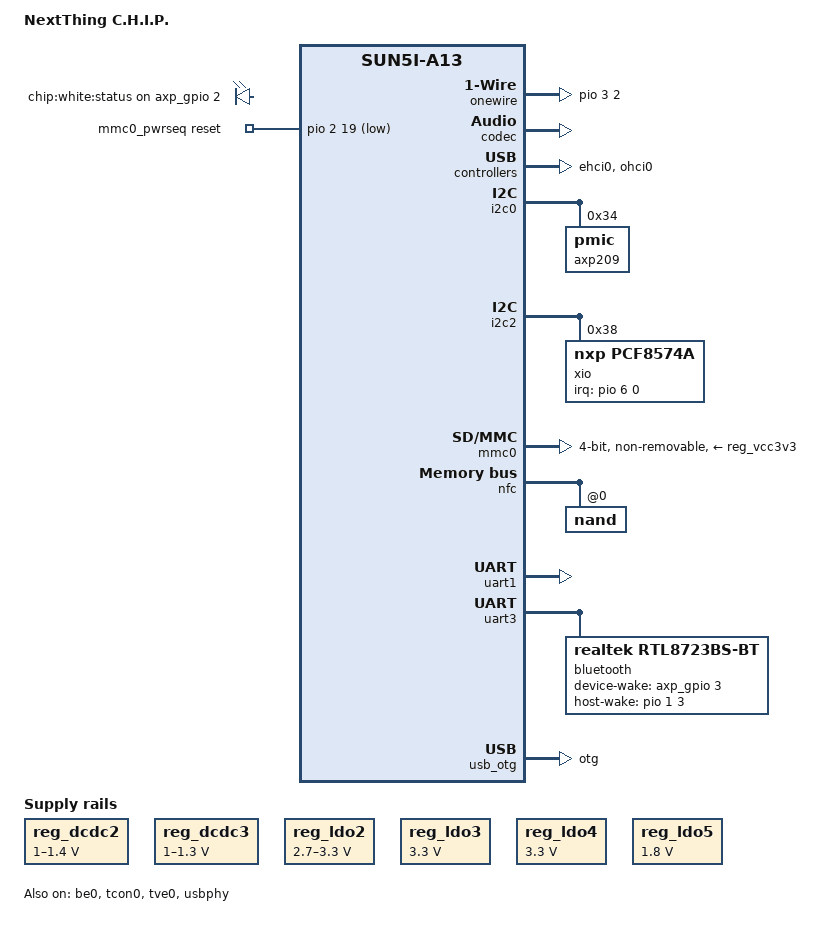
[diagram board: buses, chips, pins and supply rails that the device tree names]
/*
 * Copyright 2015 Free Electrons
 * Copyright 2015 NextThing Co
 *
 * Maxime Ripard <maxime.ripard@free-electrons.com>
 *
 * This file is dual-licensed: you can use it either under the terms
 * of the GPL or the X11 license, at your option. Note that this dual
 * licensing only applies to this file, and not this project as a
 * whole.
 *
 *  a) This file is free software; you can redistribute it and/or
 *     modify it under the terms of the GNU General Public License as
 *     published by the Free Software Foundation; either version 2 of the
 *     License, or (at your option) any later version.
 *
 *     This file is distributed in the hope that it will be useful,
 *     but WITHOUT ANY WARRANTY; without even the implied warranty of
 *     MERCHANTABILITY or FITNESS FOR A PARTICULAR PURPOSE.  See the
 *     GNU General Public License for more details.
 *
 * Or, alternatively,
 *
 *  b) Permission is hereby granted, free of charge, to any person
 *     obtaining a copy of this software and associated documentation
 *     files (the "Software"), to deal in the Software without
 *     restriction, including without limitation the rights to use,
 *     copy, modify, merge, publish, distribute, sublicense, and/or
 *     sell copies of the Software, and to permit persons to whom the
 *     Software is furnished to do so, subject to the following
 *     conditions:
 *
 *     The above copyright notice and this permission notice shall be
 *     included in all copies or substantial portions of the Software.
 *
 *     THE SOFTWARE IS PROVIDED "AS IS", WITHOUT WARRANTY OF ANY KIND,
 *     EXPRESS OR IMPLIED, INCLUDING BUT NOT LIMITED TO THE WARRANTIES
 *     OF MERCHANTABILITY, FITNESS FOR A PARTICULAR PURPOSE AND
 *     NONINFRINGEMENT. IN NO EVENT SHALL THE AUTHORS OR COPYRIGHT
 *     HOLDERS BE LIABLE FOR ANY CLAIM, DAMAGES OR OTHER LIABILITY,
 *     WHETHER IN AN ACTION OF CONTRACT, TORT OR OTHERWISE, ARISING
 *     FROM, OUT OF OR IN CONNECTION WITH THE SOFTWARE OR THE USE OR
 *     OTHER DEALINGS IN THE SOFTWARE.
 */

/dts-v1/;
#include "sun5i-r8.dtsi"
#include "sunxi-common-regulators.dtsi"

#include <dt-bindings/gpio/gpio.h>
#include <dt-bindings/interrupt-controller/irq.h>

/ {
	model = "NextThing C.H.I.P.";
	compatible = "nextthing,chip", "allwinner,sun5i-r8", "allwinner,sun5i-a13";

	aliases {
		i2c0 = &i2c0;
		i2c1 = &i2c1;
		i2c2 = &i2c2;
		serial0 = &uart1;
		serial1 = &uart3;
		spi0 = &spi2;
	};

	chosen {
		stdout-path = "serial0:115200n8";
	};

	leds {
		compatible = "gpio-leds";

		led-0 {
			label = "chip:white:status";
			gpios = <&axp_gpio 2 GPIO_ACTIVE_HIGH>;
			default-state = "on";
		};
	};

	mmc0_pwrseq: pwrseq {
		compatible = "mmc-pwrseq-simple";
		reset-gpios = <&pio 2 19 GPIO_ACTIVE_LOW>; /* PC19 */
	};

	onewire {
		compatible = "w1-gpio";
		gpios = <&pio 3 2 (GPIO_ACTIVE_HIGH | GPIO_PULL_UP)>; /* PD2 */
	};
};

&be0 {
	status = "okay";
};

&codec {
	status = "okay";
};

&cpu0 {
	cpu-supply = <&reg_dcdc2>;
};

&ehci0 {
	status = "okay";
};

&i2c0 {
	status = "okay";

	axp209: pmic@34 {
		reg = <0x34>;

		/*
		 * The interrupt is routed through the "External Fast
		 * Interrupt Request" pin (ball G13 of the module)
		 * directly to the main interrupt controller, without
		 * any other controller interfering.
		 */
		interrupts = <0>;
	};
};

#include "axp209.dtsi"

&ac_power_supply {
	status = "okay";
};

&battery_power_supply {
	status = "okay";
};

&i2c1 {
	status = "disabled";
};

&i2c2 {
	status = "okay";

	xio: gpio@38 {
		compatible = "nxp,pcf8574a";
		reg = <0x38>;

		gpio-controller;
		#gpio-cells = <2>;

		interrupt-parent = <&pio>;
		interrupts = <6 0 IRQ_TYPE_EDGE_FALLING>;
		interrupt-controller;
		#interrupt-cells = <2>;
	};
};

&mmc0_pins {
	bias-pull-up;
};

&mmc0 {
	vmmc-supply = <&reg_vcc3v3>;
	mmc-pwrseq = <&mmc0_pwrseq>;
	bus-width = <4>;
	non-removable;
	status = "okay";
};

&nfc {
	pinctrl-names = "default";
	pinctrl-0 = <&nand_pins &nand_cs0_pin &nand_rb0_pin>;
	status = "okay";

	nand@0 {
		#address-cells = <2>;
		#size-cells = <2>;
		reg = <0>;
		allwinner,rb = <0>;
		nand-ecc-mode = "hw";
		nand-rnd-mode = "hw";
		nand-ecc-step-size = <1024>;
		nand-ecc-strength = <56>;
		nand-on-flash-bbt;
		nand-randomizer-seeds = /bits/ 16 <
			0x2b75 0x0bd0 0x5ca3 0x62d1 0x1c93 0x07e9 0x2162 0x3a72
			0x0d67 0x67f9 0x1be7 0x077d 0x032f 0x0dac 0x2716 0x2436
			0x7922 0x1510 0x3860 0x5287 0x480f 0x4252 0x1789 0x5a2d
			0x2a49 0x5e10 0x437f 0x4b4e 0x2f45 0x216e 0x5cb7 0x7130
			0x2a3f 0x60e4 0x4dc9 0x0ef0 0x0f52 0x1bb9 0x6211 0x7a56
			0x226d 0x4ea7 0x6f36 0x3692 0x38bf 0x0c62 0x05eb 0x4c55
			0x60f4 0x728c 0x3b6f 0x2037 0x7f69 0x0936 0x651a 0x4ceb
			0x6218 0x79f3 0x383f 0x18d9 0x4f05 0x5c82 0x2912 0x6f17
			0x6856 0x5938 0x1007 0x61ab 0x3e7f 0x57c2 0x542f 0x4f62
			0x7454 0x2eac 0x7739 0x42d4 0x2f90 0x435a 0x2e52 0x2064
			0x637c 0x66ad 0x2c90 0x0bad 0x759c 0x0029 0x0986 0x7126
			0x1ca7 0x1605 0x386a 0x27f5 0x1380 0x6d75 0x24c3 0x0f8e
			0x2b7a 0x1418 0x1fd1 0x7dc1 0x2d8e 0x43af 0x2267 0x7da3
			0x4e3d 0x1338 0x50db 0x454d 0x764d 0x40a3 0x42e6 0x262b
			0x2d2e 0x1aea 0x2e17 0x173d 0x3a6e 0x71bf 0x25f9 0x0a5d
			0x7c57 0x0fbe 0x46ce 0x4939 0x6b17 0x37bb 0x3e91 0x76db>;
		configs {
			spl {
				nand-ecc-mode = "none";
				nand-rnd-mode = "none";
			};
		};
	};
};

&ohci0 {
	status = "okay";
};

&otg_sram {
	status = "okay";
};

&reg_dcdc2 {
	regulator-min-microvolt = <1000000>;
	regulator-max-microvolt = <1400000>;
	regulator-name = "cpuvdd";
	regulator-always-on;
};

&reg_dcdc3 {
	regulator-min-microvolt = <1000000>;
	regulator-max-microvolt = <1300000>;
	regulator-name = "corevdd";
	regulator-always-on;
};

&reg_ldo1 {
	regulator-name = "rtcvdd";
};

&reg_ldo2 {
	regulator-min-microvolt = <2700000>;
	regulator-max-microvolt = <3300000>;
	regulator-name = "avcc";
	regulator-always-on;
};

/*
 * Both LDO3 and LDO4 are used in parallel to power up the WiFi/BT
 * Chip.
 *
 * If those are not enabled, the SDIO part will not enumerate, and
 * since there's no way currently to pass DT infos to an SDIO device,
 * we cannot really do better than this ugly hack for now.
 */
&reg_ldo3 {
	regulator-min-microvolt = <3300000>;
	regulator-max-microvolt = <3300000>;
	regulator-name = "vcc-wifi-1";
	regulator-always-on;
};

&reg_ldo4 {
	regulator-min-microvolt = <3300000>;
	regulator-max-microvolt = <3300000>;
	regulator-name = "vcc-wifi-2";
	regulator-always-on;
};

&reg_ldo5 {
	regulator-min-microvolt = <1800000>;
	regulator-max-microvolt = <1800000>;
	regulator-name = "vcc-1v8";
};

&reg_usb0_vbus {
	vin-supply = <&reg_vcc5v0>;
	gpio = <&pio 1 10 GPIO_ACTIVE_HIGH>; /* PB10 */
	status = "okay";
};

&spi2 {
	pinctrl-names = "default";
	pinctrl-0 = <&spi2_pe_pins>;
	status = "disabled";
};

&tcon0 {
	status = "okay";
};

&tve0 {
	status = "okay";
};

&uart1 {
	pinctrl-names = "default";
	pinctrl-0 = <&uart1_pg_pins>;
	status = "okay";
};

&uart3 {
	pinctrl-names = "default";
	pinctrl-0 = <&uart3_pg_pins>,
		    <&uart3_cts_rts_pg_pins>;
	status = "okay";

	bluetooth {
		compatible = "realtek,rtl8723bs-bt";
		device-wake-gpios = <&axp_gpio 3 GPIO_ACTIVE_HIGH>;
		host-wake-gpios = <&pio 1 3 GPIO_ACTIVE_HIGH>; /* PB3 */
	};
};

&usb_otg {
	dr_mode = "otg";
	status = "okay";
};

&usb_power_supply {
	status = "okay";
};

&usbphy {
	status = "okay";

	usb0_id_det-gpios = <&pio 6 2 GPIO_ACTIVE_HIGH>; /* PG2 */
	usb0_vbus_power-supply = <&usb_power_supply>;
	usb0_vbus-supply = <&reg_usb0_vbus>;
	usb1_vbus-supply = <&reg_vcc5v0>;
};
